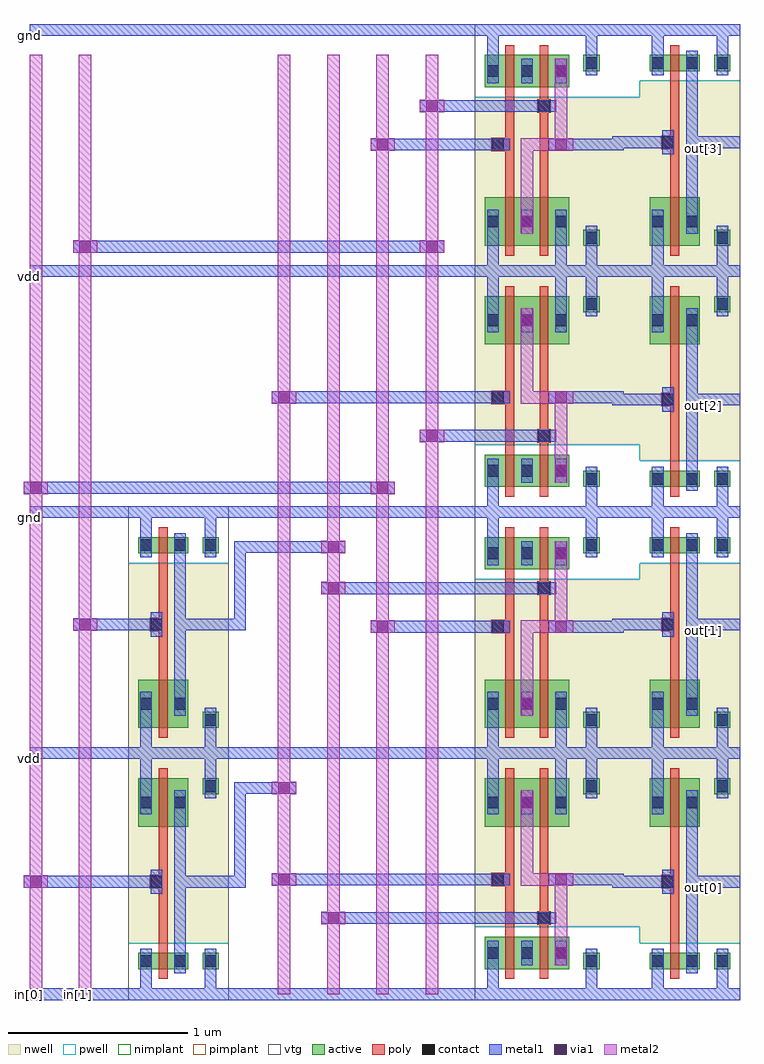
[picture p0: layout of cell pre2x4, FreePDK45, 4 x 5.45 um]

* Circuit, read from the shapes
.subckt pre2x4 gnd in[0] in[1] out[0] out[1] out[2] out[3] vdd
M1 pnand2_3_32/A in[0] gnd gnd nfet w=0.09u l=0.05u
M2 pnand2_3_32/B in[1] gnd gnd nfet w=0.09u l=0.05u
M3 pnand2_3_32/nmos_m1_w0_18_a_p_13/D pnand2_3_32/A gnd gnd nfet w=0.18u l=0.05u
M4 pnand2_3_33/nmos_m1_w0_18_a_p_13/D in[0] gnd gnd nfet w=0.18u l=0.05u
M5 pnand2_3_34/nmos_m1_w0_18_a_p_13/D pnand2_3_32/A gnd gnd nfet w=0.18u l=0.05u
M6 pnand2_3_35/nmos_m1_w0_18_a_p_13/D in[0] gnd gnd nfet w=0.18u l=0.05u
M7 pinv_9_2/A pnand2_3_32/B pnand2_3_32/nmos_m1_w0_18_a_p_13/D gnd nfet w=0.18u l=0.05u
M8 pinv_9_29/A pnand2_3_32/B pnand2_3_33/nmos_m1_w0_18_a_p_13/D gnd nfet w=0.18u l=0.05u
M9 pinv_9_30/A in[1] pnand2_3_34/nmos_m1_w0_18_a_p_13/D gnd nfet w=0.18u l=0.05u
M10 pinv_9_31/A in[1] pnand2_3_35/nmos_m1_w0_18_a_p_13/D gnd nfet w=0.18u l=0.05u
M11 out[0] pinv_9_2/A gnd gnd nfet w=0.09u l=0.05u
M12 out[1] pinv_9_29/A gnd gnd nfet w=0.09u l=0.05u
M13 out[2] pinv_9_30/A gnd gnd nfet w=0.09u l=0.05u
M14 out[3] pinv_9_31/A gnd gnd nfet w=0.09u l=0.05u
M15 pnand2_3_32/A in[0] vdd vdd pfet w=0.27u l=0.05u
M16 pnand2_3_32/B in[1] vdd vdd pfet w=0.27u l=0.05u
M17 pinv_9_2/A pnand2_3_32/A vdd vdd pfet w=0.27u l=0.05u
M18 pinv_9_29/A in[0] vdd vdd pfet w=0.27u l=0.05u
M19 pinv_9_30/A pnand2_3_32/A vdd vdd pfet w=0.27u l=0.05u
M20 pinv_9_31/A in[0] vdd vdd pfet w=0.27u l=0.05u
M21 vdd pnand2_3_32/B pinv_9_2/A vdd pfet w=0.27u l=0.05u
M22 vdd pnand2_3_32/B pinv_9_29/A vdd pfet w=0.27u l=0.05u
M23 vdd in[1] pinv_9_30/A vdd pfet w=0.27u l=0.05u
M24 vdd in[1] pinv_9_31/A vdd pfet w=0.27u l=0.05u
M25 out[0] pinv_9_2/A vdd vdd pfet w=0.27u l=0.05u
M26 out[1] pinv_9_29/A vdd vdd pfet w=0.27u l=0.05u
M27 out[2] pinv_9_30/A vdd vdd pfet w=0.27u l=0.05u
M28 out[3] pinv_9_31/A vdd vdd pfet w=0.27u l=0.05u
.ends

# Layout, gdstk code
from math import pi, radians
import gdstk
lib = gdstk.Library(unit=1e-6, precision=5e-10)
def R(c, l, rs):  # rectangles x0, y0, x1, y1
    for r in rs: c.add(gdstk.rectangle(r[:2], r[2:], *l))
active = (1, 0)
pwell = (2, 0)
nwell = (3, 0)
nimplant = (4, 0)
pimplant = (5, 0)
vtg = (6, 0)
poly = (9, 0)
contact = (10, 0)
metal1 = (11, 0)
via1 = (12, 0)
metal2 = (13, 0)

active_contact_metal1_1x = lib.new_cell('active_contact_metal1_1x1_pn')
R(active_contact_metal1_1x, active, [(0,0.0225,0.09,0.1125), (0,0.0225,0.09,0.1125)])
R(active_contact_metal1_1x, nwell, [(-0.055,-0.0325,0.145,0.1675), (-0.055,-0.0325,0.145,0.1675)])
R(active_contact_metal1_1x, pimplant, [(0,0.0225,0.09,0.1125), (0,0.0225,0.09,0.1125)])
R(active_contact_metal1_1x, contact, [(0.0125,0.035,0.0775,0.1), (0.0125,0.035,0.0775,0.1)])
R(active_contact_metal1_1x, metal1, [(0.0125,0,0.0775,0.135), (0.0125,0,0.0775,0.135)])

pmos_m1_w0_27_a_p = lib.new_cell('pmos_m1_w0_27_a_p')
R(pmos_m1_w0_27_a_p, active, [(0,0,0.28,0.27), (0,0,0.28,0.27)])
R(pmos_m1_w0_27_a_p, nwell, [(-0.055,-0.055,0.335,0.325), (-0.055,-0.055,0.335,0.325)])
R(pmos_m1_w0_27_a_p, pimplant, [(0,0,0.28,0.27), (0,0,0.28,0.27)])
R(pmos_m1_w0_27_a_p, vtg, [(-0.055,-0.055,0.335,0.325), (-0.055,-0.055,0.335,0.325)])
R(pmos_m1_w0_27_a_p, poly, [(0.115,-0.055,0.165,0.325), (0.115,-0.055,0.165,0.325), (0.115,-0.055,0.165,0.325), (0.115,-0.055,0.165,0.325)])
R(pmos_m1_w0_27_a_p, metal1, [(0.0125,0.0675,0.0775,0.2025), (0.0125,0.0675,0.0775,0.2025), (0.2025,0.0675,0.2675,0.2025), (0.2025,0.0675,0.2675,0.2025)])
pmos_m1_w0_27_a_p.add(gdstk.Reference(active_contact_metal1_1x, (0,0.0675)))
pmos_m1_w0_27_a_p.add(gdstk.Reference(active_contact_metal1_1x, (0.19,0.0675)))
pmos_m1_w0_27_a_p.add(gdstk.Reference(active_contact_metal1_1x, (0,0.0675)))
pmos_m1_w0_27_a_p.add(gdstk.Reference(active_contact_metal1_1x, (0.19,0.0675)))
pmos_m1_w0_27_a_p.add(gdstk.Label('S', (0.0125,0.0675), layer=11, texttype=0))
pmos_m1_w0_27_a_p.add(gdstk.Label('D', (0.2025,0.0675), layer=11, texttype=0))
pmos_m1_w0_27_a_p.add(gdstk.Label('G', (0.115,-0.055), layer=9, texttype=0))
pmos_m1_w0_27_a_p.add(gdstk.Label('S', (0.0125,0.0675), layer=11, texttype=0))
pmos_m1_w0_27_a_p.add(gdstk.Label('D', (0.2025,0.0675), layer=11, texttype=0))
pmos_m1_w0_27_a_p.add(gdstk.Label('G', (0.115,-0.055), layer=9, texttype=0))

c_active_contact_metal1_1x = lib.new_cell('active_contact_metal1_1x1_np')
R(c_active_contact_metal1_1x, active, [(0,0.0225,0.09,0.1125)])
R(c_active_contact_metal1_1x, pwell, [(-0.055,-0.0325,0.145,0.1675)])
R(c_active_contact_metal1_1x, nimplant, [(0,0.0225,0.09,0.1125)])
R(c_active_contact_metal1_1x, contact, [(0.0125,0.035,0.0775,0.1)])
R(c_active_contact_metal1_1x, metal1, [(0.0125,0,0.0775,0.135)])

nmos_m1_w0_09_a_p = lib.new_cell('nmos_m1_w0_09_a_p')
R(nmos_m1_w0_09_a_p, active, [(0,0,0.28,0.09), (0,0,0.28,0.09)])
R(nmos_m1_w0_09_a_p, pwell, [(-0.055,-0.055,0.335,0.145), (-0.055,-0.055,0.335,0.145)])
R(nmos_m1_w0_09_a_p, nimplant, [(0,0,0.28,0.09), (0,0,0.28,0.09)])
R(nmos_m1_w0_09_a_p, vtg, [(-0.055,-0.055,0.335,0.145), (-0.055,-0.055,0.335,0.145)])
R(nmos_m1_w0_09_a_p, poly, [(0.115,-0.055,0.165,0.145), (0.115,-0.055,0.165,0.145), (0.115,-0.055,0.165,0.145), (0.115,-0.055,0.165,0.145)])
R(nmos_m1_w0_09_a_p, metal1, [(0.0125,-0.0225,0.0775,0.1125), (0.0125,-0.0225,0.0775,0.1125), (0.2025,-0.0225,0.2675,0.1125), (0.2025,-0.0225,0.2675,0.1125)])
nmos_m1_w0_09_a_p.add(gdstk.Reference(c_active_contact_metal1_1x, (0,-0.0225)))
nmos_m1_w0_09_a_p.add(gdstk.Reference(c_active_contact_metal1_1x, (0.19,-0.0225)))
nmos_m1_w0_09_a_p.add(gdstk.Reference(c_active_contact_metal1_1x, (0,-0.0225)))
nmos_m1_w0_09_a_p.add(gdstk.Reference(c_active_contact_metal1_1x, (0.19,-0.0225)))
nmos_m1_w0_09_a_p.add(gdstk.Label('S', (0.0125,-0.0225), layer=11, texttype=0))
nmos_m1_w0_09_a_p.add(gdstk.Label('D', (0.2025,-0.0225), layer=11, texttype=0))
nmos_m1_w0_09_a_p.add(gdstk.Label('G', (0.115,-0.055), layer=9, texttype=0))
nmos_m1_w0_09_a_p.add(gdstk.Label('S', (0.0125,-0.0225), layer=11, texttype=0))
nmos_m1_w0_09_a_p.add(gdstk.Label('D', (0.2025,-0.0225), layer=11, texttype=0))
nmos_m1_w0_09_a_p.add(gdstk.Label('G', (0.115,-0.055), layer=9, texttype=0))

c_active_contact_metal1_1x_ = lib.new_cell('active_contact_metal1_1x1_nn')
R(c_active_contact_metal1_1x_, active, [(0,0.0225,0.09,0.1125), (0,0.0225,0.09,0.1125)])
R(c_active_contact_metal1_1x_, nwell, [(-0.055,-0.0325,0.145,0.1675), (-0.055,-0.0325,0.145,0.1675)])
R(c_active_contact_metal1_1x_, nimplant, [(0,0.0225,0.09,0.1125), (0,0.0225,0.09,0.1125)])
R(c_active_contact_metal1_1x_, contact, [(0.0125,0.035,0.0775,0.1), (0.0125,0.035,0.0775,0.1)])
R(c_active_contact_metal1_1x_, metal1, [(0.0125,0,0.0775,0.135), (0.0125,0,0.0775,0.135)])

c_active_contact_metal1_1x__ = lib.new_cell('active_contact_metal1_1x1_pp')
R(c_active_contact_metal1_1x__, active, [(0,0.0225,0.09,0.1125)])
R(c_active_contact_metal1_1x__, pwell, [(-0.055,-0.0325,0.145,0.1675)])
R(c_active_contact_metal1_1x__, pimplant, [(0,0.0225,0.09,0.1125)])
R(c_active_contact_metal1_1x__, contact, [(0.0125,0.035,0.0775,0.1)])
R(c_active_contact_metal1_1x__, metal1, [(0.0125,0,0.0775,0.135)])

poly_contact_metal1_1x1 = lib.new_cell('poly_contact_metal1_1x1')
R(poly_contact_metal1_1x1, poly, [(0,0.03,0.075,0.105), (0,0.03,0.075,0.105)])
R(poly_contact_metal1_1x1, contact, [(0.005,0.035,0.07,0.1), (0.005,0.035,0.07,0.1)])
R(poly_contact_metal1_1x1, metal1, [(0.005,0,0.07,0.135), (0.005,0,0.07,0.135)])

pinv_9 = lib.new_cell('pinv_9')
R(pinv_9, pwell, [(0,-0.0325,0.56,0.285), (0,-0.0325,0.56,0.285)])
R(pinv_9, nwell, [(0,0.285,0.56,1.3775), (0,0.285,0.56,1.3775)])
R(pinv_9, vtg, [(0,-0.0325,0.56,0.285), (0,-0.0325,0.56,0.285), (0,0.285,0.56,1.3775), (0,0.285,0.56,1.3775)])
R(pinv_9, poly, [(0.17,0.085,0.22,0.88), (0.17,0.085,0.22,0.88), (0.1575,0.59,0.17,0.665), (0.1575,0.59,0.17,0.665)])
R(pinv_9, metal1, [(0,-0.0325,0.56,0.0325), (0,-0.0325,0.56,0.0325), (0.0675,-0.0325,0.1325,0.1175), (0.0675,-0.0325,0.1325,0.1175), (0.4275,0,0.4925,0.185), (0.4275,0,0.4925,0.185), (0.2575,0.1175,0.3225,1.0025), (0.2575,0.1175,0.3225,1.0025), (0.125,0.56,0.19,0.695), (0.125,0.56,0.19,0.695), (0.29,0.595,0.355,0.66), (0.29,0.595,0.355,0.66), (0.0675,1.0025,0.1325,1.3775), (0.0675,1.0025,0.1325,1.3775), (0.4275,1.16,0.4925,1.345), (0.4275,1.16,0.4925,1.345), (0,1.3125,0.56,1.3775), (0,1.3125,0.56,1.3775)])
pinv_9.add(gdstk.Reference(pmos_m1_w0_27_a_p, (0.055,0.935)))
pinv_9.add(gdstk.Reference(nmos_m1_w0_09_a_p, (0.055,0.14)))
pinv_9.add(gdstk.Reference(c_active_contact_metal1_1x_, (0.415,1.0925)))
pinv_9.add(gdstk.Reference(c_active_contact_metal1_1x__, (0.415,0.1175)))
pinv_9.add(gdstk.Reference(poly_contact_metal1_1x1, (0.12,0.56)))
pinv_9.add(gdstk.Reference(pmos_m1_w0_27_a_p, (0.055,0.935)))
pinv_9.add(gdstk.Reference(nmos_m1_w0_09_a_p, (0.055,0.14)))
pinv_9.add(gdstk.Reference(c_active_contact_metal1_1x_, (0.415,1.0925)))
pinv_9.add(gdstk.Reference(c_active_contact_metal1_1x__, (0.415,0.1175)))
pinv_9.add(gdstk.Reference(poly_contact_metal1_1x1, (0.12,0.56)))
pinv_9.add(gdstk.Label('A', (0.125,0.56), layer=11, texttype=0))
pinv_9.add(gdstk.Label('Z', (0.29,0.595), layer=11, texttype=0))
pinv_9.add(gdstk.Label('vdd', (0,1.3125), layer=11, texttype=0))
pinv_9.add(gdstk.Label('gnd', (0,-0.0325), layer=11, texttype=0))
pinv_9.add(gdstk.Label('A', (0.125,0.56), layer=11, texttype=0))
pinv_9.add(gdstk.Label('Z', (0.29,0.595), layer=11, texttype=0))
pinv_9.add(gdstk.Label('vdd', (0,1.3125), layer=11, texttype=0))
pinv_9.add(gdstk.Label('gnd', (0,-0.0325), layer=11, texttype=0))

nmos_m1_w0_18_a_p = lib.new_cell('nmos_m1_w0_18_a_p')
R(nmos_m1_w0_18_a_p, active, [(0,0,0.28,0.18), (0,0,0.28,0.18)])
R(nmos_m1_w0_18_a_p, pwell, [(-0.055,-0.055,0.335,0.235), (-0.055,-0.055,0.335,0.235)])
R(nmos_m1_w0_18_a_p, nimplant, [(0,0,0.28,0.18), (0,0,0.28,0.18)])
R(nmos_m1_w0_18_a_p, vtg, [(-0.055,-0.055,0.335,0.235), (-0.055,-0.055,0.335,0.235)])
R(nmos_m1_w0_18_a_p, poly, [(0.115,-0.055,0.165,0.235), (0.115,-0.055,0.165,0.235), (0.115,-0.055,0.165,0.235), (0.115,-0.055,0.165,0.235)])
R(nmos_m1_w0_18_a_p, metal1, [(0.0125,0.0225,0.0775,0.1575), (0.0125,0.0225,0.0775,0.1575), (0.2025,0.0225,0.2675,0.1575), (0.2025,0.0225,0.2675,0.1575)])
nmos_m1_w0_18_a_p.add(gdstk.Reference(c_active_contact_metal1_1x, (0,0.0225)))
nmos_m1_w0_18_a_p.add(gdstk.Reference(c_active_contact_metal1_1x, (0.19,0.0225)))
nmos_m1_w0_18_a_p.add(gdstk.Reference(c_active_contact_metal1_1x, (0,0.0225)))
nmos_m1_w0_18_a_p.add(gdstk.Reference(c_active_contact_metal1_1x, (0.19,0.0225)))
nmos_m1_w0_18_a_p.add(gdstk.Label('S', (0.0125,0.0225), layer=11, texttype=0))
nmos_m1_w0_18_a_p.add(gdstk.Label('D', (0.2025,0.0225), layer=11, texttype=0))
nmos_m1_w0_18_a_p.add(gdstk.Label('G', (0.115,-0.055), layer=9, texttype=0))
nmos_m1_w0_18_a_p.add(gdstk.Label('S', (0.0125,0.0225), layer=11, texttype=0))
nmos_m1_w0_18_a_p.add(gdstk.Label('D', (0.2025,0.0225), layer=11, texttype=0))
nmos_m1_w0_18_a_p.add(gdstk.Label('G', (0.115,-0.055), layer=9, texttype=0))

metal1_via1_metal2_1x1 = lib.new_cell('metal1_via1_metal2_1x1')
R(metal1_via1_metal2_1x1, metal1, [(0.0025,0,0.0675,0.135), (0.0025,0,0.0675,0.135)])
R(metal1_via1_metal2_1x1, via1, [(0.0025,0.035,0.0675,0.1), (0.0025,0.035,0.0675,0.1)])
R(metal1_via1_metal2_1x1, metal2, [(0,0,0.07,0.135), (0,0,0.07,0.135)])

pnand2_3 = lib.new_cell('pnand2_3')
R(pnand2_3, pwell, [(0,-0.0325,0.92,0.375), (0,-0.0325,0.92,0.375)])
R(pnand2_3, nwell, [(0,0.375,0.92,1.3775), (0,0.375,0.92,1.3775)])
R(pnand2_3, vtg, [(0,-0.0325,0.92,0.375), (0,-0.0325,0.92,0.375), (0,0.375,0.92,1.3775), (0,0.375,0.92,1.3775)])
R(pnand2_3, poly, [(0.17,0.085,0.22,0.88), (0.17,0.085,0.22,0.88), (0.36,0.085,0.41,0.88), (0.36,0.085,0.41,0.88), (0.36,0.3875,0.385,0.4625), (0.36,0.3875,0.385,0.4625), (0.1275,0.6025,0.17,0.6775), (0.1275,0.6025,0.17,0.6775)])
R(pnand2_3, metal1, [(0,-0.0325,0.92,0.0325), (0,-0.0325,0.92,0.0325), (0.0675,-0.0325,0.1325,0.1625), (0.0675,-0.0325,0.1325,0.1625), (0.6175,0,0.6825,0.185), (0.6175,0,0.6825,0.185), (0.3175,0.3925,0.4525,0.4575), (0.3175,0.3925,0.4525,0.4575), (0.06,0.6075,0.195,0.6725), (0.06,0.6075,0.195,0.6725), (0.4125,0.6075,0.5475,0.6725), (0.4125,0.6075,0.5475,0.6725), (0.0675,1.0025,0.1325,1.3775), (0.0675,1.0025,0.1325,1.3775), (0.4475,1.0025,0.5125,1.3775), (0.4475,1.0025,0.5125,1.3775), (0.6175,1.16,0.6825,1.345), (0.6175,1.16,0.6825,1.345), (0,1.3125,0.92,1.3775), (0,1.3125,0.92,1.3775)])
R(pnand2_3, metal2, [(0.445,0.2975,0.515,0.64), (0.445,0.2975,0.515,0.64), (0.255,0.605,0.325,0.675), (0.255,0.605,0.325,0.675), (0.29,0.605,0.48,0.675), (0.29,0.605,0.48,0.675), (0.445,0.605,0.515,0.675), (0.445,0.605,0.515,0.675), (0.255,0.64,0.325,1.0025), (0.255,0.64,0.325,1.0025)])
pnand2_3.add(gdstk.Reference(pmos_m1_w0_27_a_p, (0.055,0.935)))
pnand2_3.add(gdstk.Reference(pmos_m1_w0_27_a_p, (0.245,0.935)))
pnand2_3.add(gdstk.Reference(nmos_m1_w0_18_a_p, (0.055,0.14)))
pnand2_3.add(gdstk.Reference(nmos_m1_w0_18_a_p, (0.245,0.14)))
pnand2_3.add(gdstk.Reference(c_active_contact_metal1_1x_, (0.605,1.0925)))
pnand2_3.add(gdstk.Reference(c_active_contact_metal1_1x__, (0.605,0.1175)))
pnand2_3.add(gdstk.Reference(poly_contact_metal1_1x1, (0.4525,0.3875), rotation=pi/2))
pnand2_3.add(gdstk.Reference(poly_contact_metal1_1x1, (0.195,0.6025), rotation=pi/2))
pnand2_3.add(gdstk.Reference(metal1_via1_metal2_1x1, (0.255,1.0025)))
pnand2_3.add(gdstk.Reference(metal1_via1_metal2_1x1, (0.445,0.1625)))
pnand2_3.add(gdstk.Reference(metal1_via1_metal2_1x1, (0.5475,0.605), rotation=pi/2))
pnand2_3.add(gdstk.Reference(pmos_m1_w0_27_a_p, (0.055,0.935)))
pnand2_3.add(gdstk.Reference(pmos_m1_w0_27_a_p, (0.245,0.935)))
pnand2_3.add(gdstk.Reference(nmos_m1_w0_18_a_p, (0.055,0.14)))
pnand2_3.add(gdstk.Reference(nmos_m1_w0_18_a_p, (0.245,0.14)))
pnand2_3.add(gdstk.Reference(c_active_contact_metal1_1x_, (0.605,1.0925)))
pnand2_3.add(gdstk.Reference(c_active_contact_metal1_1x__, (0.605,0.1175)))
pnand2_3.add(gdstk.Reference(poly_contact_metal1_1x1, (0.4525,0.3875), rotation=pi/2))
pnand2_3.add(gdstk.Reference(poly_contact_metal1_1x1, (0.195,0.6025), rotation=pi/2))
pnand2_3.add(gdstk.Reference(metal1_via1_metal2_1x1, (0.255,1.0025)))
pnand2_3.add(gdstk.Reference(metal1_via1_metal2_1x1, (0.445,0.1625)))
pnand2_3.add(gdstk.Reference(metal1_via1_metal2_1x1, (0.5475,0.605), rotation=pi/2))
pnand2_3.add(gdstk.Label('A', (0.06,0.6075), layer=11, texttype=0))
pnand2_3.add(gdstk.Label('Z', (0.4125,0.6075), layer=11, texttype=0))
pnand2_3.add(gdstk.Label('B', (0.3175,0.3925), layer=11, texttype=0))
pnand2_3.add(gdstk.Label('vdd', (0,1.3125), layer=11, texttype=0))
pnand2_3.add(gdstk.Label('gnd', (0,-0.0325), layer=11, texttype=0))
pnand2_3.add(gdstk.Label('A', (0.06,0.6075), layer=11, texttype=0))
pnand2_3.add(gdstk.Label('Z', (0.4125,0.6075), layer=11, texttype=0))
pnand2_3.add(gdstk.Label('B', (0.3175,0.3925), layer=11, texttype=0))
pnand2_3.add(gdstk.Label('vdd', (0,1.3125), layer=11, texttype=0))
pnand2_3.add(gdstk.Label('gnd', (0,-0.0325), layer=11, texttype=0))

pre2x4 = lib.new_cell('pre2x4')
R(pre2x4, metal1, [(0,-0.0325,3.965,0.0325), (0,-0.0325,3.965,0.0325), (0,-0.0325,3.965,0.0325), (1.695,0.3925,2.8025,0.4575), (1.695,0.3925,2.8025,0.4575), (1.695,0.3925,2.8025,0.4575), (0.035,0.595,0.675,0.66), (0.035,0.595,0.675,0.66), (0.035,0.595,0.675,0.66), (0.905,0.595,1.175,0.66), (0.905,0.595,1.175,0.66), (0.905,0.595,1.175,0.66), (1.1425,0.595,1.2075,0.66), (1.1425,0.595,1.2075,0.66), (1.1425,0.595,1.2075,0.66), (3.25,0.595,3.315,0.66), (3.25,0.595,3.315,0.66), (3.25,0.595,3.315,0.66), (3.2825,0.595,3.53,0.66), (3.2825,0.595,3.53,0.66), (3.2825,0.595,3.53,0.66), (3.76,0.595,3.965,0.66), (3.76,0.595,3.965,0.66), (3.76,0.595,3.965,0.66), (1.42,0.6075,2.545,0.6725), (1.42,0.6075,2.545,0.6725), (1.42,0.6075,2.545,0.6725), (3.0325,0.6075,3.2825,0.6725), (3.0325,0.6075,3.2825,0.6725), (3.0325,0.6075,3.2825,0.6725), (3.25,0.6075,3.315,0.6725), (3.25,0.6075,3.315,0.6725), (3.25,0.6075,3.315,0.6725), (1.1425,0.6275,1.2075,1.15), (1.1425,0.6275,1.2075,1.15), (1.1425,0.6275,1.2075,1.15), (3.25,0.6275,3.315,0.64), (3.25,0.6275,3.315,0.64), (3.25,0.6275,3.315,0.64), (1.1425,1.1175,1.2075,1.1825), (1.1425,1.1175,1.2075,1.1825), (1.1425,1.1175,1.2075,1.1825), (1.175,1.1175,1.42,1.1825), (1.175,1.1175,1.42,1.1825), (1.175,1.1175,1.42,1.1825), (0,1.3125,3.965,1.3775), (0,1.3125,3.965,1.3775), (0,1.3125,3.965,1.3775), (1.97,2.0175,2.545,2.0825), (1.97,2.0175,2.545,2.0825), (1.97,2.0175,2.545,2.0825), (3.0325,2.0175,3.2825,2.0825), (3.0325,2.0175,3.2825,2.0825), (3.0325,2.0175,3.2825,2.0825), (3.25,2.0175,3.315,2.0825), (3.25,2.0175,3.315,2.0825), (3.25,2.0175,3.315,2.0825), (0.31,2.03,0.675,2.095), (0.31,2.03,0.675,2.095), (0.31,2.03,0.675,2.095), (0.905,2.03,1.175,2.095), (0.905,2.03,1.175,2.095), (0.905,2.03,1.175,2.095), (1.1425,2.03,1.2075,2.095), (1.1425,2.03,1.2075,2.095), (1.1425,2.03,1.2075,2.095), (3.25,2.03,3.315,2.095), (3.25,2.03,3.315,2.095), (3.25,2.03,3.315,2.095), (3.2825,2.03,3.53,2.095), (3.2825,2.03,3.53,2.095), (3.2825,2.03,3.53,2.095), (3.76,2.03,3.965,2.095), (3.76,2.03,3.965,2.095), (3.76,2.03,3.965,2.095), (3.25,2.05,3.315,2.0625), (3.25,2.05,3.315,2.0625), (3.25,2.05,3.315,2.0625), (1.1425,2.0625,1.2075,2.495), (1.1425,2.0625,1.2075,2.495), (1.1425,2.0625,1.2075,2.495), (1.695,2.2325,2.8025,2.2975), (1.695,2.2325,2.8025,2.2975), (1.695,2.2325,2.8025,2.2975), (1.1425,2.4625,1.2075,2.5275), (1.1425,2.4625,1.2075,2.5275), (1.1425,2.4625,1.2075,2.5275), (1.175,2.4625,1.695,2.5275), (1.175,2.4625,1.695,2.5275), (1.175,2.4625,1.695,2.5275), (0,2.6575,3.965,2.7225), (0,2.6575,3.965,2.7225), (0,2.6575,3.965,2.7225), (0.035,2.7925,1.97,2.8575), (0.035,2.7925,1.97,2.8575), (0.035,2.7925,1.97,2.8575), (2.245,3.0825,2.8025,3.1475), (2.245,3.0825,2.8025,3.1475), (2.245,3.0825,2.8025,3.1475), (3.25,3.285,3.315,3.35), (3.25,3.285,3.315,3.35), (3.25,3.285,3.315,3.35), (3.2825,3.285,3.53,3.35), (3.2825,3.285,3.53,3.35), (3.2825,3.285,3.53,3.35), (3.76,3.285,3.965,3.35), (3.76,3.285,3.965,3.35), (3.76,3.285,3.965,3.35), (1.42,3.2975,2.545,3.3625), (1.42,3.2975,2.545,3.3625), (1.42,3.2975,2.545,3.3625), (3.0325,3.2975,3.2825,3.3625), (3.0325,3.2975,3.2825,3.3625), (3.0325,3.2975,3.2825,3.3625), (3.25,3.2975,3.315,3.3625), (3.25,3.2975,3.315,3.3625), (3.25,3.2975,3.315,3.3625), (3.25,3.3175,3.315,3.33), (3.25,3.3175,3.315,3.33), (3.25,3.3175,3.315,3.33), (0,4.0025,3.965,4.0675), (0,4.0025,3.965,4.0675), (0,4.0025,3.965,4.0675), (0.31,4.1375,2.245,4.2025), (0.31,4.1375,2.245,4.2025), (0.31,4.1375,2.245,4.2025), (1.97,4.7075,2.545,4.7725), (1.97,4.7075,2.545,4.7725), (1.97,4.7075,2.545,4.7725), (3.0325,4.7075,3.2825,4.7725), (3.0325,4.7075,3.2825,4.7725), (3.0325,4.7075,3.2825,4.7725), (3.25,4.7075,3.315,4.7725), (3.25,4.7075,3.315,4.7725), (3.25,4.7075,3.315,4.7725), (3.25,4.72,3.315,4.785), (3.25,4.72,3.315,4.785), (3.25,4.72,3.315,4.785), (3.2825,4.72,3.53,4.785), (3.2825,4.72,3.53,4.785), (3.2825,4.72,3.53,4.785), (3.76,4.72,3.965,4.785), (3.76,4.72,3.965,4.785), (3.76,4.72,3.965,4.785), (3.25,4.74,3.315,4.7525), (3.25,4.74,3.315,4.7525), (3.25,4.74,3.315,4.7525), (2.245,4.9225,2.8025,4.9875), (2.245,4.9225,2.8025,4.9875), (2.245,4.9225,2.8025,4.9875), (0,5.3475,3.965,5.4125), (0,5.3475,3.965,5.4125), (0,5.3475,3.965,5.4125)])
R(pre2x4, metal2, [(0,0,0.07,5.24), (0,0,0.07,5.24), (0,0,0.07,5.24), (0.275,0,0.345,5.24), (0.275,0,0.345,5.24), (0.275,0,0.345,5.24), (1.385,0,1.455,5.24), (1.385,0,1.455,5.24), (1.385,0,1.455,5.24), (1.66,0,1.73,5.24), (1.66,0,1.73,5.24), (1.66,0,1.73,5.24), (1.935,0,2.005,5.24), (1.935,0,2.005,5.24), (1.935,0,2.005,5.24), (2.21,0,2.28,5.24), (2.21,0,2.28,5.24), (2.21,0,2.28,5.24)])
pre2x4.add(gdstk.Reference(pinv_9, (0.55,0)))
pre2x4.add(gdstk.Reference(pinv_9, (0.55,2.69), x_reflection=True))
pre2x4.add(gdstk.Reference(pinv_9, (3.405,0)))
pre2x4.add(gdstk.Reference(pinv_9, (3.405,2.69), x_reflection=True))
pre2x4.add(gdstk.Reference(pinv_9, (3.405,2.69)))
pre2x4.add(gdstk.Reference(pinv_9, (3.405,5.38), x_reflection=True))
pre2x4.add(gdstk.Reference(pnand2_3, (2.485,0)))
pre2x4.add(gdstk.Reference(pnand2_3, (2.485,2.69), x_reflection=True))
pre2x4.add(gdstk.Reference(pnand2_3, (2.485,2.69)))
pre2x4.add(gdstk.Reference(pnand2_3, (2.485,5.38), x_reflection=True))
pre2x4.add(gdstk.Reference(metal1_via1_metal2_1x1, (1.4875,1.115), rotation=pi/2))
pre2x4.add(gdstk.Reference(metal1_via1_metal2_1x1, (0.1025,0.5925), rotation=pi/2))
pre2x4.add(gdstk.Reference(metal1_via1_metal2_1x1, (1.7625,2.46), rotation=pi/2))
pre2x4.add(gdstk.Reference(metal1_via1_metal2_1x1, (0.3775,2.0275), rotation=pi/2))
pre2x4.add(gdstk.Reference(metal1_via1_metal2_1x1, (0.1025,2.79), rotation=pi/2))
pre2x4.add(gdstk.Reference(metal1_via1_metal2_1x1, (2.0375,2.79), rotation=pi/2))
pre2x4.add(gdstk.Reference(metal1_via1_metal2_1x1, (0.3775,4.135), rotation=pi/2))
pre2x4.add(gdstk.Reference(metal1_via1_metal2_1x1, (2.3125,4.135), rotation=pi/2))
pre2x4.add(gdstk.Reference(metal1_via1_metal2_1x1, (1.4875,0.605), rotation=pi/2))
pre2x4.add(gdstk.Reference(metal1_via1_metal2_1x1, (1.7625,0.39), rotation=pi/2))
pre2x4.add(gdstk.Reference(metal1_via1_metal2_1x1, (2.0375,2.015), rotation=pi/2))
pre2x4.add(gdstk.Reference(metal1_via1_metal2_1x1, (1.7625,2.23), rotation=pi/2))
pre2x4.add(gdstk.Reference(metal1_via1_metal2_1x1, (1.4875,3.295), rotation=pi/2))
pre2x4.add(gdstk.Reference(metal1_via1_metal2_1x1, (2.3125,3.08), rotation=pi/2))
pre2x4.add(gdstk.Reference(metal1_via1_metal2_1x1, (2.0375,4.705), rotation=pi/2))
pre2x4.add(gdstk.Reference(metal1_via1_metal2_1x1, (2.3125,4.92), rotation=pi/2))
pre2x4.add(gdstk.Reference(pinv_9, (0.55,0)))
pre2x4.add(gdstk.Reference(pinv_9, (0.55,2.69), x_reflection=True))
pre2x4.add(gdstk.Reference(pinv_9, (3.405,0)))
pre2x4.add(gdstk.Reference(pinv_9, (3.405,2.69), x_reflection=True))
pre2x4.add(gdstk.Reference(pinv_9, (3.405,2.69)))
pre2x4.add(gdstk.Reference(pinv_9, (3.405,5.38), x_reflection=True))
pre2x4.add(gdstk.Reference(pnand2_3, (2.485,0)))
pre2x4.add(gdstk.Reference(pnand2_3, (2.485,2.69), x_reflection=True))
pre2x4.add(gdstk.Reference(pnand2_3, (2.485,2.69)))
pre2x4.add(gdstk.Reference(pnand2_3, (2.485,5.38), x_reflection=True))
pre2x4.add(gdstk.Reference(metal1_via1_metal2_1x1, (1.4875,1.115), rotation=pi/2))
pre2x4.add(gdstk.Reference(metal1_via1_metal2_1x1, (0.1025,0.5925), rotation=pi/2))
pre2x4.add(gdstk.Reference(metal1_via1_metal2_1x1, (1.7625,2.46), rotation=pi/2))
pre2x4.add(gdstk.Reference(metal1_via1_metal2_1x1, (0.3775,2.0275), rotation=pi/2))
pre2x4.add(gdstk.Reference(metal1_via1_metal2_1x1, (0.1025,2.79), rotation=pi/2))
pre2x4.add(gdstk.Reference(metal1_via1_metal2_1x1, (2.0375,2.79), rotation=pi/2))
pre2x4.add(gdstk.Reference(metal1_via1_metal2_1x1, (0.3775,4.135), rotation=pi/2))
pre2x4.add(gdstk.Reference(metal1_via1_metal2_1x1, (2.3125,4.135), rotation=pi/2))
pre2x4.add(gdstk.Reference(metal1_via1_metal2_1x1, (1.4875,0.605), rotation=pi/2))
pre2x4.add(gdstk.Reference(metal1_via1_metal2_1x1, (1.7625,0.39), rotation=pi/2))
pre2x4.add(gdstk.Reference(metal1_via1_metal2_1x1, (2.0375,2.015), rotation=pi/2))
pre2x4.add(gdstk.Reference(metal1_via1_metal2_1x1, (1.7625,2.23), rotation=pi/2))
pre2x4.add(gdstk.Reference(metal1_via1_metal2_1x1, (1.4875,3.295), rotation=pi/2))
pre2x4.add(gdstk.Reference(metal1_via1_metal2_1x1, (2.3125,3.08), rotation=pi/2))
pre2x4.add(gdstk.Reference(metal1_via1_metal2_1x1, (2.0375,4.705), rotation=pi/2))
pre2x4.add(gdstk.Reference(metal1_via1_metal2_1x1, (2.3125,4.92), rotation=pi/2))
pre2x4.add(gdstk.Reference(pinv_9, (0.55,0)))
pre2x4.add(gdstk.Reference(pinv_9, (0.55,2.69), x_reflection=True))
pre2x4.add(gdstk.Reference(pinv_9, (3.405,0)))
pre2x4.add(gdstk.Reference(pinv_9, (3.405,2.69), x_reflection=True))
pre2x4.add(gdstk.Reference(pinv_9, (3.405,2.69)))
pre2x4.add(gdstk.Reference(pinv_9, (3.405,5.38), x_reflection=True))
pre2x4.add(gdstk.Reference(pnand2_3, (2.485,0)))
pre2x4.add(gdstk.Reference(pnand2_3, (2.485,2.69), x_reflection=True))
pre2x4.add(gdstk.Reference(pnand2_3, (2.485,2.69)))
pre2x4.add(gdstk.Reference(pnand2_3, (2.485,5.38), x_reflection=True))
pre2x4.add(gdstk.Reference(metal1_via1_metal2_1x1, (1.4875,1.115), rotation=pi/2))
pre2x4.add(gdstk.Reference(metal1_via1_metal2_1x1, (0.1025,0.5925), rotation=pi/2))
pre2x4.add(gdstk.Reference(metal1_via1_metal2_1x1, (1.7625,2.46), rotation=pi/2))
pre2x4.add(gdstk.Reference(metal1_via1_metal2_1x1, (0.3775,2.0275), rotation=pi/2))
pre2x4.add(gdstk.Reference(metal1_via1_metal2_1x1, (0.1025,2.79), rotation=pi/2))
pre2x4.add(gdstk.Reference(metal1_via1_metal2_1x1, (2.0375,2.79), rotation=pi/2))
pre2x4.add(gdstk.Reference(metal1_via1_metal2_1x1, (0.3775,4.135), rotation=pi/2))
pre2x4.add(gdstk.Reference(metal1_via1_metal2_1x1, (2.3125,4.135), rotation=pi/2))
pre2x4.add(gdstk.Reference(metal1_via1_metal2_1x1, (1.4875,0.605), rotation=pi/2))
pre2x4.add(gdstk.Reference(metal1_via1_metal2_1x1, (1.7625,0.39), rotation=pi/2))
pre2x4.add(gdstk.Reference(metal1_via1_metal2_1x1, (2.0375,2.015), rotation=pi/2))
pre2x4.add(gdstk.Reference(metal1_via1_metal2_1x1, (1.7625,2.23), rotation=pi/2))
pre2x4.add(gdstk.Reference(metal1_via1_metal2_1x1, (1.4875,3.295), rotation=pi/2))
pre2x4.add(gdstk.Reference(metal1_via1_metal2_1x1, (2.3125,3.08), rotation=pi/2))
pre2x4.add(gdstk.Reference(metal1_via1_metal2_1x1, (2.0375,4.705), rotation=pi/2))
pre2x4.add(gdstk.Reference(metal1_via1_metal2_1x1, (2.3125,4.92), rotation=pi/2))
pre2x4.add(gdstk.Label('out[3]', (3.76,4.72), layer=11, texttype=0))
pre2x4.add(gdstk.Label('out[2]', (3.76,3.285), layer=11, texttype=0))
pre2x4.add(gdstk.Label('in[0]', (0,0), layer=13, texttype=0))
pre2x4.add(gdstk.Label('out[0]', (3.76,0.595), layer=11, texttype=0))
pre2x4.add(gdstk.Label('out[1]', (3.76,2.03), layer=11, texttype=0))
pre2x4.add(gdstk.Label('vdd', (0,1.3125), layer=11, texttype=0))
pre2x4.add(gdstk.Label('vdd', (0,4.0025), layer=11, texttype=0))
pre2x4.add(gdstk.Label('gnd', (0,-0.0325), layer=11, texttype=0))
pre2x4.add(gdstk.Label('gnd', (0,2.6575), layer=11, texttype=0))
pre2x4.add(gdstk.Label('gnd', (0,5.3475), layer=11, texttype=0))
pre2x4.add(gdstk.Label('in[1]', (0.275,0), layer=13, texttype=0))
pre2x4.add(gdstk.Label('out[3]', (3.76,4.72), layer=11, texttype=0))
pre2x4.add(gdstk.Label('out[2]', (3.76,3.285), layer=11, texttype=0))
pre2x4.add(gdstk.Label('in[0]', (0,0), layer=13, texttype=0))
pre2x4.add(gdstk.Label('out[0]', (3.76,0.595), layer=11, texttype=0))
pre2x4.add(gdstk.Label('out[1]', (3.76,2.03), layer=11, texttype=0))
pre2x4.add(gdstk.Label('vdd', (0,1.3125), layer=11, texttype=0))
pre2x4.add(gdstk.Label('vdd', (0,4.0025), layer=11, texttype=0))
pre2x4.add(gdstk.Label('gnd', (0,-0.0325), layer=11, texttype=0))
pre2x4.add(gdstk.Label('gnd', (0,2.6575), layer=11, texttype=0))
pre2x4.add(gdstk.Label('gnd', (0,5.3475), layer=11, texttype=0))
pre2x4.add(gdstk.Label('in[1]', (0.275,0), layer=13, texttype=0))
pre2x4.add(gdstk.Label('out[3]', (3.76,4.72), layer=11, texttype=0))
pre2x4.add(gdstk.Label('out[2]', (3.76,3.285), layer=11, texttype=0))
pre2x4.add(gdstk.Label('in[0]', (0,0), layer=13, texttype=0))
pre2x4.add(gdstk.Label('out[0]', (3.76,0.595), layer=11, texttype=0))
pre2x4.add(gdstk.Label('out[1]', (3.76,2.03), layer=11, texttype=0))
pre2x4.add(gdstk.Label('vdd', (0,1.3125), layer=11, texttype=0))
pre2x4.add(gdstk.Label('vdd', (0,4.0025), layer=11, texttype=0))
pre2x4.add(gdstk.Label('gnd', (0,-0.0325), layer=11, texttype=0))
pre2x4.add(gdstk.Label('gnd', (0,2.6575), layer=11, texttype=0))
pre2x4.add(gdstk.Label('gnd', (0,5.3475), layer=11, texttype=0))
pre2x4.add(gdstk.Label('in[1]', (0.275,0), layer=13, texttype=0))

lib.write_gds('pre2x4.gds')
